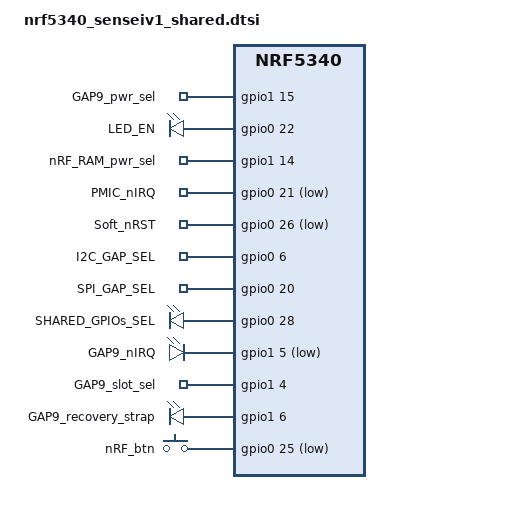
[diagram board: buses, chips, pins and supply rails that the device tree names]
// Copyright (c) 2025 ETH Zurich and University of Bologna
// SPDX-License-Identifier: Apache-2.0

#include <zephyr/dt-bindings/input/input-event-codes.h>

/ {
	sensei_pwr: sensei_pwr {
		compatible = "gpio-leds";
		gpio_gap9_pwr: gpio_gap9_pwr {
			gpios = <&gpio1 15 GPIO_ACTIVE_HIGH>;
			label = "GAP9_pwr_sel";
		};
		gpio_led_pwr: gpio_led_pwr {
			gpios = <&gpio0 22 GPIO_ACTIVE_HIGH>;
			label = "LED_EN";
		};
		gpio_ram_pwr: gpio_ram_pwr {
			gpios = <&gpio1 14 GPIO_ACTIVE_HIGH>;
			label = "nRF_RAM_pwr_sel";
		};
	};
	sensei_irq: sensei_irq {
		compatible = "gpio-keys";
		debounce-interval-ms = <0>;
		/* Both lines idle high. The internal pull-up is in case the board has none (nIRQ is open drain). */
		gpio_pmic_irq: gpio_pmic_irq {
			gpios = <&gpio0 21 (GPIO_ACTIVE_LOW | GPIO_PULL_UP)>;
			label = "PMIC_nIRQ";
		};
		gpio_soft_nrst: gpio_soft_nrst {
			gpios = <&gpio0 26 (GPIO_ACTIVE_LOW | GPIO_PULL_UP)>;
			label = "Soft_nRST";
		};
	};
	sensei_comm: sensei_comm {
		compatible = "gpio-leds";
		gpio_gap9_i2c_ctrl: gpio_gap9_i2c_ctrl {
			gpios = <&gpio0 6 GPIO_ACTIVE_HIGH>;
			label = "I2C_GAP_SEL";
		};
		gpio_gap9_spi_ctrl: gpio_gap9_spi_ctrl {
			gpios = <&gpio0 20 GPIO_ACTIVE_HIGH>;
			label = "SPI_GAP_SEL";
		};
		gpio_gap9_shared_ctrl: gpio_gap9_shared_ctrl {
			gpios = <&gpio0 28 GPIO_ACTIVE_HIGH>;
			label = "SHARED_GPIOs_SEL";
		};
		gpio_gap9_irq: gpio_gap9_irq {
			gpios = <&gpio1 5 (GPIO_ACTIVE_LOW | GPIO_PULL_UP)>;
			label = "GAP9_nIRQ";
		};
		/* CS_nRF_GAP, wired straight to GAP9 pad 56: the boot slot (low A, high B), read by the SSBL. */
		gpio_gap9_slot_sel: gpio_gap9_slot_sel {
			gpios = <&gpio1 4 GPIO_ACTIVE_HIGH>;
			label = "GAP9_slot_sel";
		};
		/* EXT_RX_SPI, wired straight to GAP9 pad 57: the recovery strap (high: the SSBL enters recovery). Used only
		 * with CONFIG_SENSEI_GAP9_RECOVERY_STRAP; UNVERIFIED hardware. */
		gpio_gap9_recovery: gpio_gap9_recovery {
			gpios = <&gpio1 6 GPIO_ACTIVE_HIGH>;
			label = "GAP9_recovery_strap";
		};
	};

	rtt0: rtt_chan0 {
		compatible = "segger,rtt-uart";
	};

	buttons {
		compatible = "gpio-keys";
		/* SW3 on the base board (nRF_btn). The pull-up is internal in case the board has none. */
		button0: button0 {
			label = "nRF_btn";
			gpios = <&gpio0 25 (GPIO_ACTIVE_LOW | GPIO_PULL_UP)>;
			zephyr,code = <INPUT_KEY_0>;
		};
	};


	aliases {
		sw0 = &button0;
		mcuboot-button0 = &button0;
		watchdog0 = &wdt0;
	};
};
